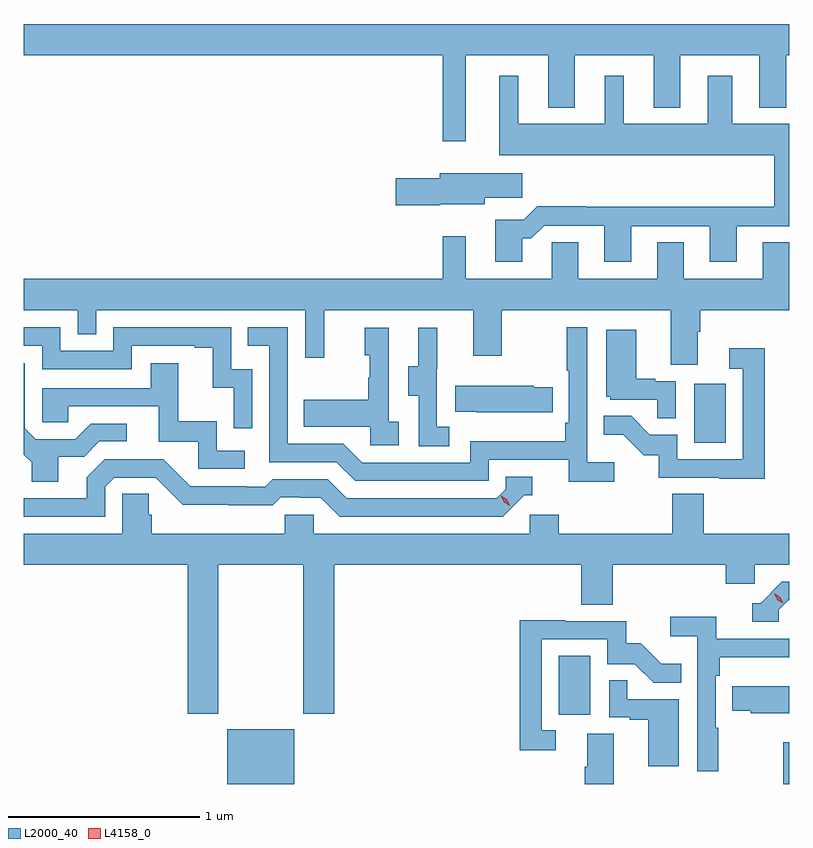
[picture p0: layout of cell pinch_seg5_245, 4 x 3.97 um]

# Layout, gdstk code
import gdstk
lib = gdstk.Library(unit=1e-6, precision=1e-09)
def R(c, l, rs):  # rectangles x0, y0, x1, y1
    for r in rs: c.add(gdstk.rectangle(r[:2], r[2:], *l))
def P(c, l, *ps):  # polygons
    for p in ps: c.add(gdstk.Polygon(p, *l))
L2000_40 = (2000, 40)
L4158_0 = (4158, 0)

pinch_seg5_245 = lib.new_cell('pinch_seg5_245')
R(pinch_seg5_245, L2000_40, [(936.59,896.907,936.94,897.193), (939.496,896.907,939.527,897.124), (938.324,897.27,938.488,897.577), (939.032,898.692,939.196,898.999)])
P(pinch_seg5_245, L2000_40, [(935.527,900.716),(937.716,900.716),(937.716,900.267),(937.837,900.267),(937.837,900.716),(938.267,900.716),(938.267,900.443),(938.407,900.443),(938.407,900.716),(938.819,900.716),(938.819,900.443),(938.959,900.443),(938.959,900.716),(939.371,900.716),(939.371,900.443),(939.511,900.443),(939.511,900.716),(939.527,900.716),(939.527,900.88),(935.527,900.88)],
  [(938.131,899.759),(938.18,899.759),(938.247,899.826),(938.561,899.826),(938.561,899.637),(938.701,899.637),(938.701,899.823),(939.113,899.823),(939.113,899.637),(939.253,899.637),(939.253,899.823),(939.527,899.823),(939.527,900.358),(939.229,900.358),(939.229,900.61),(939.101,900.61),(939.101,900.358),(938.662,900.358),(938.662,900.61),(938.564,900.61),(938.564,900.358),(938.11,900.358),(938.11,900.61),(938.012,900.61),(938.012,900.194),(939.449,900.194),(939.449,899.924),(938.465,899.924),(938.465,899.927),(938.21,899.927),(938.14,899.857),(937.991,899.857),(937.991,899.637),(938.131,899.637)],
  [(937.704,899.939),(937.936,899.939),(937.936,899.971),(938.131,899.971),(938.131,900.1),(937.7,900.1),(937.7,900.074),(937.47,900.074),(937.47,899.932),(937.704,899.932)],
  [(935.527,899.384),(935.808,899.384),(935.808,899.257),(935.904,899.257),(935.904,899.384),(936.999,899.384),(936.999,899.136),(937.097,899.136),(937.097,899.384),(937.877,899.384),(937.877,899.145),(938.025,899.145),(938.025,899.384),(938.909,899.384),(938.909,899.098),(939.049,899.098),(939.049,899.272),(939.062,899.272),(939.062,899.384),(939.527,899.384),(939.527,899.738),(939.389,899.738),(939.389,899.548),(938.977,899.548),(938.977,899.738),(938.837,899.738),(938.837,899.548),(938.425,899.548),(938.425,899.738),(938.286,899.738),(938.286,899.548),(937.837,899.548),(937.837,899.77),(937.716,899.77),(937.716,899.548),(935.527,899.548)],
  [(938.614,898.588),(938.472,898.588),(938.472,899.296),(938.364,899.296),(938.364,899.068),(938.376,899.068),(938.376,898.795),(938.356,898.795),(938.356,898.699),(937.86,898.699),(937.86,898.587),(937.296,898.587),(937.197,898.686),(936.906,898.686),(936.906,899.295),(936.697,899.295),(936.697,899.199),(936.81,899.199),(936.81,898.59),(937.16,898.59),(937.259,898.491),(937.956,898.491),(937.956,898.602),(938.375,898.602),(938.375,898.486),(938.614,898.486)],
  [(936.72,899.076),(936.612,899.076),(936.612,899.295),(935.994,899.295),(935.994,899.172),(935.718,899.172),(935.718,899.295),(935.527,899.295),(935.527,899.199),(935.622,899.199),(935.622,899.076),(936.09,899.076),(936.09,899.199),(936.419,899.199),(936.419,899.187),(936.515,899.187),(936.515,898.979),(936.624,898.979),(936.624,898.767),(936.72,898.767)],
  [(937.75,898.775),(937.686,898.775),(937.686,899.079),(937.688,899.079),(937.688,899.293),(937.589,899.293),(937.589,899.091),(937.535,899.091),(937.535,898.936),(937.59,898.936),(937.59,898.672),(937.75,898.672)],
  [(937.486,898.802),(937.434,898.802),(937.434,899.293),(937.31,899.293),(937.31,899.148),(937.336,899.148),(937.336,899.03),(937.326,899.03),(937.326,898.915),(936.991,898.915),(936.991,898.775),(937.338,898.775),(937.338,898.677),(937.486,898.677)],
  [(938.934,899.013),(938.828,899.013),(938.828,899.026),(938.728,899.026),(938.728,899.281),(938.57,899.281),(938.57,898.932),(938.592,898.932),(938.592,898.917),(938.839,898.917),(938.839,898.819),(938.934,898.819)],
  [(939.401,899.185),(939.213,899.185),(939.213,899.079),(939.285,899.079),(939.285,898.605),(938.943,898.605),(938.943,898.734),(938.799,898.734),(938.701,898.832),(938.557,898.832),(938.557,898.733),(938.661,898.733),(938.768,898.626),(938.845,898.626),(938.845,898.509),(939.163,898.509),(939.163,898.504),(939.401,898.504)],
  [(935.707,898.618),(935.842,898.618),(935.922,898.698),(936.064,898.698),(936.064,898.791),(935.876,898.791),(935.795,898.71),(935.589,898.71),(935.532,898.767),(935.532,899.107),(935.527,899.107),(935.527,898.628),(935.567,898.588),(935.567,898.486),(935.707,898.486)],
  [(936.682,898.65),(936.534,898.65),(936.534,898.804),(936.335,898.804),(936.335,899.107),(936.191,899.107),(936.191,898.977),(935.622,898.977),(935.622,898.797),(935.759,898.797),(935.759,898.881),(936.233,898.881),(936.233,898.695),(936.438,898.695),(936.438,898.554),(936.682,898.554)],
  [(938.291,898.98),(938.193,898.98),(938.193,898.99),(937.783,898.99),(937.783,898.853),(937.891,898.853),(937.891,898.85),(938.291,898.85)],
  [(935.952,898.461),(936,898.509),(936.216,898.509),(936.358,898.367),(936.594,898.367),(936.594,898.365),(936.827,898.365),(936.869,898.407),(936.972,898.407),(936.972,898.404),(937.079,898.404),(937.178,898.305),(938.031,898.305),(938.142,898.416),(938.185,898.416),(938.185,898.512),(938.046,898.512),(938.046,898.449),(937.998,898.401),(937.215,898.401),(937.116,898.5),(936.827,898.5),(936.788,898.461),(936.689,898.461),(936.689,898.464),(936.396,898.464),(936.255,898.605),(935.949,898.605),(935.855,898.511),(935.855,898.401),(935.527,898.401),(935.527,898.305),(935.952,898.305)],
  [(936.543,898.052),(936.988,898.052),(936.988,897.273),(937.148,897.273),(937.148,898.052),(938.441,898.052),(938.441,897.844),(938.606,897.844),(938.606,898.052),(939.197,898.052),(939.197,897.954),(939.348,897.954),(939.348,898.052),(939.527,898.052),(939.527,898.216),(939.08,898.216),(939.08,898.424),(938.915,898.424),(938.915,898.216),(938.324,898.216),(938.324,898.314),(938.172,898.314),(938.172,898.216),(937.041,898.216),(937.041,898.314),(936.891,898.314),(936.891,898.216),(936.194,898.216),(936.194,898.314),(936.179,898.314),(936.179,898.424),(936.042,898.424),(936.042,898.216),(935.527,898.216),(935.527,898.052),(936.383,898.052),(936.383,897.273),(936.543,897.273)],
  [(939.474,897.819),(939.522,897.867),(939.527,897.867),(939.527,897.963),(939.489,897.963),(939.378,897.852),(939.335,897.852),(939.335,897.756),(939.474,897.756)],
  [(939.157,897.2),(939.144,897.2),(939.144,897.473),(939.164,897.473),(939.164,897.569),(939.527,897.569),(939.527,897.666),(939.146,897.666),(939.146,897.782),(938.907,897.782),(938.907,897.68),(939.048,897.68),(939.048,896.973),(939.157,896.973)],
  [(938.308,897.189),(938.235,897.189),(938.235,897.663),(938.577,897.663),(938.577,897.534),(938.721,897.534),(938.819,897.436),(938.963,897.436),(938.963,897.535),(938.859,897.535),(938.752,897.642),(938.676,897.642),(938.676,897.759),(938.357,897.759),(938.357,897.764),(938.119,897.764),(938.119,897.084),(938.308,897.084)],
  [(938.95,897.351),(938.681,897.351),(938.681,897.449),(938.586,897.449),(938.586,897.255),(938.693,897.255),(938.693,897.243),(938.792,897.243),(938.792,897),(938.95,897)],
  [(939.527,897.418),(939.229,897.418),(939.229,897.289),(939.327,897.289),(939.327,897.278),(939.527,897.278)],
  [(938.611,897.17),(938.471,897.17),(938.471,896.996),(938.459,896.996),(938.459,896.907),(938.611,896.907)])
P(pinch_seg5_245, L4158_0, [(939.496,897.851),(939.465,897.871),(939.449,897.903),(939.449,897.903),(939.449,897.903),(939.48,897.884),(939.496,897.851),(939.496,897.851)],
  [(938.067,898.362),(938.037,898.381),(938.021,898.414),(938.021,898.414),(938.021,898.414),(938.052,898.395),(938.068,898.362),(938.068,898.362)])

lib.write_gds('pinch_seg5_245.gds')
